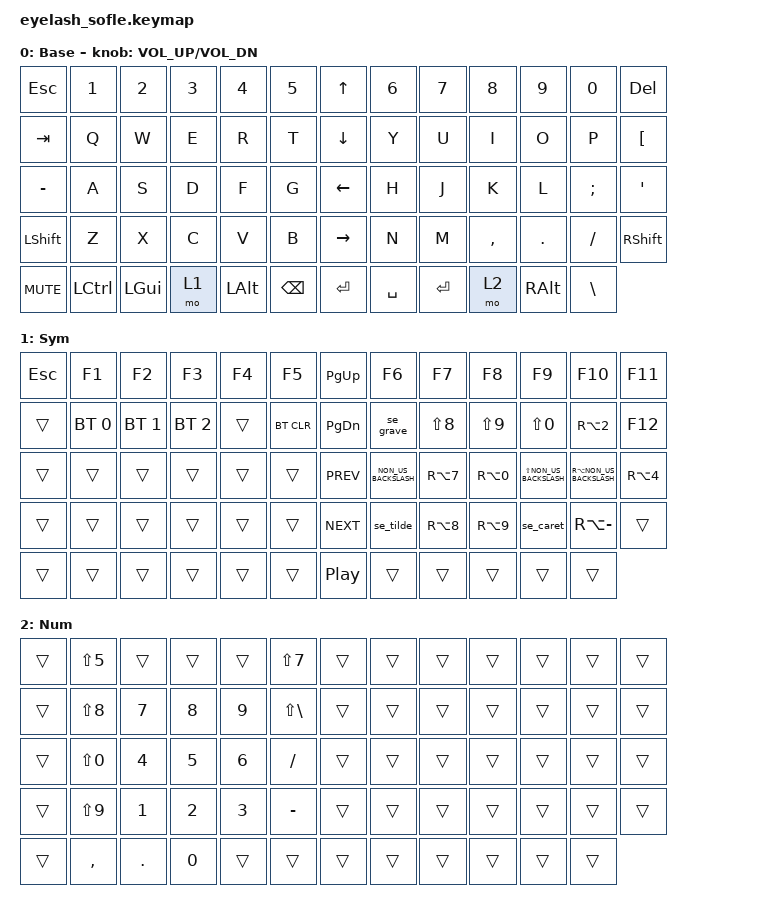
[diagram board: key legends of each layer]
#define ZMK_POINTING_DEFAULT_MOVE_VAL 1200  // 600
#define ZMK_POINTING_DEFAULT_SCRL_VAL 25   // 10

#include <input/processors.dtsi>
#include <zephyr/dt-bindings/input/input-event-codes.h>
#include <behaviors.dtsi>
#include <dt-bindings/zmk/bt.h>
#include <dt-bindings/zmk/keys.h>
#include <dt-bindings/zmk/pointing.h>

// Swedish layout aliases (host OS set to Swedish, Windows/Linux AltGr mappings).
// ZMK sends US HID positions; these name the character the Swedish layout produces.
#define SE_PLUS       MINUS
#define SE_MINUS      SLASH
#define SE_STAR       LS(BACKSLASH)          // same key as ' on base
#define SE_SLASH      LS(N7)
#define SE_EQL        LS(N0)
#define SE_PRCNT      LS(N5)
#define SE_LPAR       LS(N8)
#define SE_RPAR       LS(N9)
#define SE_AT         RA(N2)
#define SE_DLR        RA(N4)
#define SE_LBRC       RA(N7)
#define SE_LBKT       RA(N8)
#define SE_RBKT       RA(N9)
#define SE_RBRC       RA(N0)
#define SE_BSLH       RA(MINUS)
#define SE_LT         NON_US_BACKSLASH
#define SE_GT         LS(NON_US_BACKSLASH)
#define SE_PIPE       RA(NON_US_BACKSLASH)
#define SE_DEAD_TILDE RA(RIGHT_BRACKET)
#define SE_DEAD_CARET LS(RIGHT_BRACKET)
#define SE_DEAD_GRAVE LS(EQUAL)

// Layer IDs

#define WINDOWS 0
#define WINDOWS_FN   1
#define MAC   2
#define MAC_FN   3
#define GALLIUM 4
#define GALLIUM_FN  5
#define UTILS 6

&mmv_input_listener { input-processors = <&zip_xy_scaler 2 1>; };

&msc_input_listener { input-processors = <&zip_scroll_scaler 2 1>; };

&msc {
    acceleration-exponent = <1>;      // 0
    time-to-max-speed-ms = <100>;     // 300
    delay-ms = <0>;                   // 0
};

&mmv {
    time-to-max-speed-ms = <500>;
    acceleration-exponent = <1>;
    trigger-period-ms = <16>;
};

&soft_off { hold-time-ms = <2000>; };

/ {
    scroll_encoder: scroll_encoder {
        compatible = "zmk,behavior-sensor-rotate";
        #sensor-binding-cells = <0>;
        bindings = <&msc SCRL_DOWN>, <&msc SCRL_UP>;

        tap-ms = <100>;
    };

    behaviors {
        winfn_mt: momentary_or_toggle_win_fn {
            // If held, momentary switch to layer 1 or double tap to toggle layer 1

            compatible = "zmk,behavior-tap-dance";
            #binding-cells = <0>;
            tapping-term-ms = <200>;
            bindings = <&mo 0>, <&tog 0>;
        };

        macfn_mt: momentary_or_toggle_mac_fn {
            // If held, momentary switch to layer 3 or double tap to toggle layer 3

            compatible = "zmk,behavior-tap-dance";
            #binding-cells = <0>;
            tapping-term-ms = <200>;
            bindings = <&mo 0>, <&tog 0>;
        };
    };

    combos {
        compatible = "zmk,combos";

        softoff {
            bindings = <&soft_off>;
            key-positions = <14 28 40>; // Keys Q, S, Z
        };
    };

    macros {
        snap_win: snapshot_win {
            compatible = "zmk,behavior-macro";
            #binding-cells = <0>;
            bindings =
                <&macro_press>,
                <&kp LEFT_WIN &kp LEFT_SHIFT>,
                <&macro_tap>,
                <&kp S>,
                <&macro_release>,
                <&kp LEFT_COMMAND &kp LEFT_SHIFT>;

            label = "SNAPSHOT_WIN";
        };

        snap_mac_clip: snapshot_mac_clip {
            compatible = "zmk,behavior-macro";
            #binding-cells = <0>;
            bindings =
                <&macro_press>,
                <&kp LEFT_COMMAND &kp LEFT_CONTROL &kp LEFT_SHIFT>,
                <&macro_tap>,
                <&kp NUMBER_4>,
                <&macro_release>,
                <&kp LEFT_COMMAND &kp LEFT_CONTROL &kp LEFT_SHIFT>;

            label = "SNAPSHOT_MAC_CLIP";
        };

        snap_mac_file: snapshot_mac_file {
            compatible = "zmk,behavior-macro";
            #binding-cells = <0>;
            bindings =
                <&macro_press>,
                <&kp LEFT_COMMAND &kp LEFT_SHIFT>,
                <&macro_tap>,
                <&kp NUMBER_4>,
                <&macro_release>,
                <&kp LEFT_COMMAND &kp LEFT_SHIFT>;

            label = "SNAPSHOT_MAC_FILE";
        };

        // Swedish dead keys: tap the dead key, then space, to get the bare character
        se_tilde: se_tilde {
            compatible = "zmk,behavior-macro";
            #binding-cells = <0>;
            bindings = <&macro_tap &kp SE_DEAD_TILDE &kp SPACE>;
        };

        se_caret: se_caret {
            compatible = "zmk,behavior-macro";
            #binding-cells = <0>;
            bindings = <&macro_tap &kp SE_DEAD_CARET &kp SPACE>;
        };

        se_grave: se_grave {
            compatible = "zmk,behavior-macro";
            #binding-cells = <0>;
            bindings = <&macro_tap &kp SE_DEAD_GRAVE &kp SPACE>;
        };
    };

    // Bottom left key is the encoder click
    // Column 7 (middle column) is the joystick from the right half

    keymap {
        compatible = "zmk,keymap";

        //
        // Windows layout
        //

        Base {
            bindings = <
&kp ESC     &kp N1     &kp N2    &kp N3  &kp N4    &kp N5      &kp UP     &kp N6     &kp N7     &kp N8     &kp N9         &kp N0         &kp DEL
&kp TAB     &kp Q      &kp W     &kp E   &kp R     &kp T       &kp DOWN   &kp Y      &kp U      &kp I      &kp O          &kp P          &kp LEFT_BRACKET
&kp MINUS   &kp A      &kp S     &kp D   &kp F     &kp G       &kp LEFT   &kp H      &kp J      &kp K      &kp L          &kp SEMI       &kp APOS
&kp LSHFT   &kp Z      &kp X     &kp C   &kp V     &kp B       &kp RIGHT  &kp N      &kp M      &kp COMMA  &kp DOT        &kp SLASH      &kp RSHIFT
&kp C_MUTE  &kp LCTRL  &kp LGUI  &mo 1   &kp LALT  &kp BSPC    &kp ENTER  &kp SPACE  &kp ENTER  &mo 2      &kp RIGHT_ALT  &kp BACKSLASH
            >;

            sensor-bindings = <&inc_dec_kp C_VOLUME_UP C_VOL_DN>;
            display-name = "Base";
        };

        //
        // Mac layout
        //
        //
        // Gallium layout for Windows
        //

        Function {
            bindings = <
&kp ESC  &kp F1        &kp F2        &kp F3        &kp F4  &kp F5      &kp PG_UP   &kp F6       &kp F7       &kp F8       &kp F9       &kp F10      &kp F11
&trans   &bt BT_SEL 0  &bt BT_SEL 1  &bt BT_SEL 2  &trans  &bt BT_CLR  &kp PG_DN   &se_grave    &kp SE_LPAR  &kp SE_RPAR  &kp SE_EQL   &kp SE_AT    &kp F12
&trans   &trans        &trans        &trans        &trans  &trans      &kp C_PREV  &kp SE_LT    &kp SE_LBRC  &kp SE_RBRC  &kp SE_GT    &kp SE_PIPE  &kp SE_DLR
&trans   &trans        &trans        &trans        &trans  &trans      &kp C_NEXT  &se_tilde    &kp SE_LBKT  &kp SE_RBKT  &se_caret    &kp SE_BSLH  &trans
&trans   &trans        &trans        &trans        &trans  &trans      &kp C_PP    &trans       &trans       &trans       &trans       &trans
            >;

            display-name = "Sym";
        };

        layer_2 {
            bindings = <
&trans  &kp SE_PRCNT  &trans     &trans  &trans  &kp SE_SLASH    &trans  &trans  &trans  &trans  &trans  &trans  &trans
&trans  &kp SE_LPAR   &kp N7     &kp N8  &kp N9  &kp SE_STAR     &trans  &trans  &trans  &trans  &trans  &trans  &trans
&trans  &kp SE_EQL    &kp N4     &kp N5  &kp N6  &kp SE_MINUS    &trans  &trans  &trans  &trans  &trans  &trans  &trans
&trans  &kp SE_RPAR   &kp N1     &kp N2  &kp N3  &kp SE_PLUS     &trans  &trans  &trans  &trans  &trans  &trans  &trans
&trans  &kp COMMA     &kp DOT    &kp N0  &trans  &trans          &trans  &trans  &trans  &trans  &trans  &trans
            >;

            display-name = "Num";
        };
    };
};
